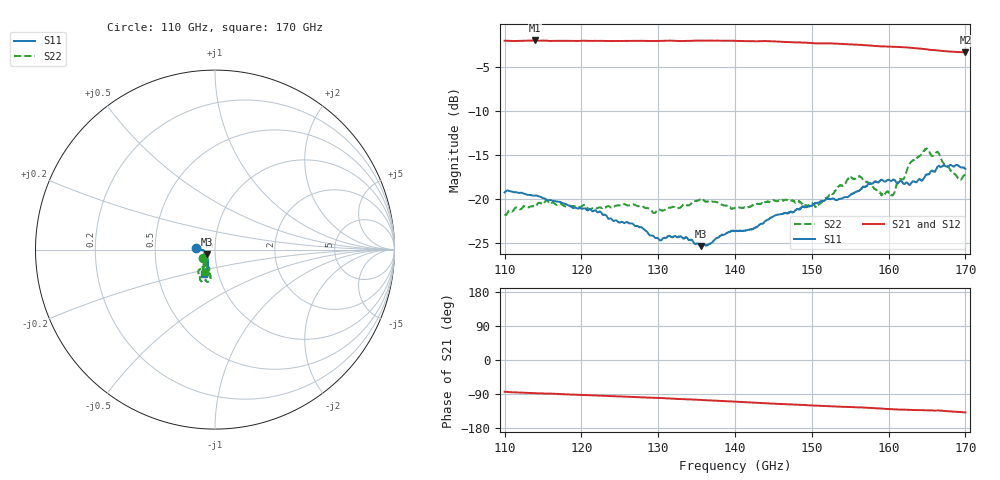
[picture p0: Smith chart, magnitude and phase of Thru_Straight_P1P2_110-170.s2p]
!Keysight Technologies,N5247B,MY61256062,A.16.20.04
!Date: Wednesday, November 26, 2025 07:05:52
!Correction: S11(C  2-Port  )
!S21(C  2-Port  )
!S12(C  2-Port  )
!S22(C  2-Port  )
!S2P File: Measurements: S11, S21, S12, S22:
# Hz S  dB  R 50
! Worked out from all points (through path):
!   1471 points, 110 GHz to 170 GHz, reference 50 ohm
!   highest |S21| = -1.95 dB at 114 GHz (marker M1); lowest = -3.3 dB at 170 GHz (marker M2)
!   group delay of S21, straight-line fit = 2.53 ps
!   lowest |S11| = -25.4 dB at 135.6 GHz (marker M3), VSWR 1.11, Z = 45.4 - j2.33 ohm
!   |S11| at or under -10 dB: start of sweep to end of sweep
!   |S22| runs from -21.8 to -14.3 dB; largest |S21 - S12| = 0.025
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1.1e11  -19.26 176.3  -1.98 -83.9  -1.97 -83.6  -21.75 -142.7
1.14e11  -19.63 175.8  -1.95 -87.6  -1.96 -87.3  -20.90 -143.0
1.154694e11  -20.12 173.7  -1.98 -88.3  -1.99 -88.1  -20.17 -140.5
1.2e11  -21.11 177.4  -2.00 -92.1  -2.00 -91.8  -20.88 -138.9
1.265306e11  -22.80 -177.6  -2.00 -97.5  -2.01 -97.1  -20.66 -139.1
1.3e11  -24.54 -168.8  -2.00 -100.2  -2.01 -100.1  -21.23 -132.9
1.328571e11  -24.28 -158.6  -2.01 -102.9  -2.02 -102.5  -20.99 -139.3
1.35551e11  -25.40 -151.6  -1.96 -105.3  -1.97 -104.8  -20.02 -136.8
1.4e11  -23.66 -134.5  -1.99 -109.9  -2.00 -109.8  -21.08 -133.8
1.466122e11  -21.60 -121.1  -2.13 -116.5  -2.13 -116.2  -20.10 -125.7
1.5e11  -20.82 -116.2  -2.25 -120.0  -2.23 -119.5  -20.49 -123.0
1.507347e11  -20.44 -116.0  -2.27 -120.6  -2.25 -120.0  -20.81 -125.1
1.550612e11  -19.53 -110.3  -2.40 -124.1  -2.40 -123.8  -17.52 -117.7
1.563265e11  -18.96 -108.6  -2.45 -125.0  -2.46 -125.3  -17.50 -111.1
1.59102e11  -17.84 -111.8  -2.63 -128.2  -2.62 -127.9  -19.59 -108.9
1.6e11  -17.85 -113.2  -2.66 -129.4  -2.64 -128.6  -19.30 -113.9
1.605714e11  -17.85 -113.3  -2.68 -129.9  -2.67 -129.1  -19.62 -120.4
1.628571e11  -18.33 -110.7  -2.79 -131.5  -2.80 -131.4  -15.86 -124.4
1.648571e11  -17.26 -105.9  -2.95 -132.3  -2.96 -133.3  -14.35 -112.9
1.66449e11  -16.31 -106.5  -3.10 -133.1  -3.10 -135.0  -14.70 -102.2
1.691837e11  -16.29 -114.0  -3.27 -137.3  -3.28 -136.7  -17.79 -107.1
1.7e11  -16.60 -115.0  -3.31 -138.2  -3.32 -137.6  -17.28 -114.8
